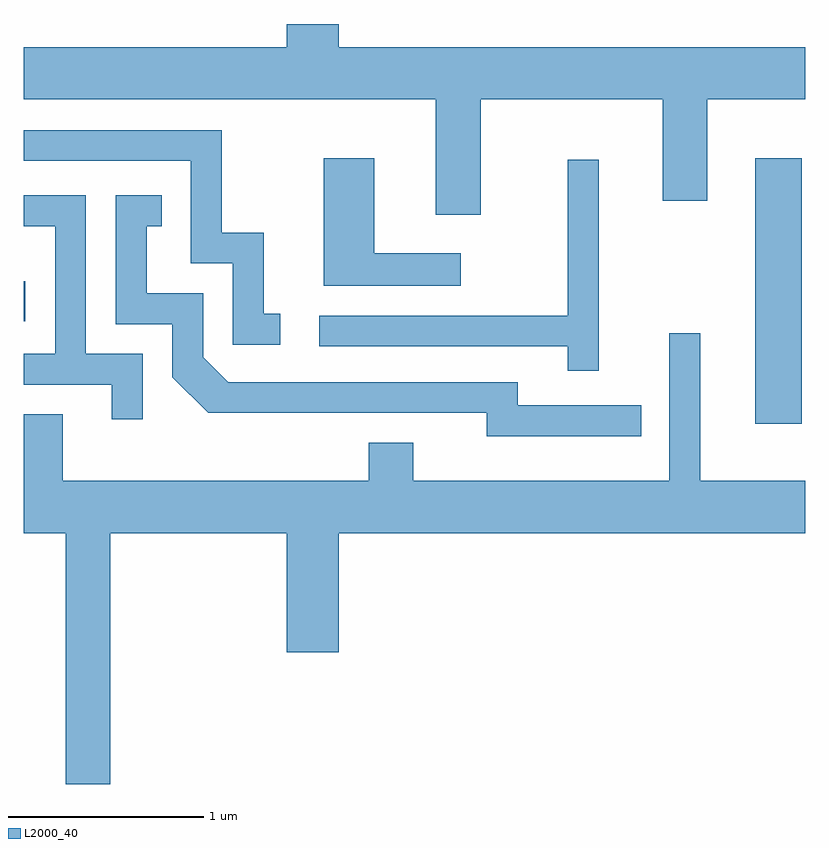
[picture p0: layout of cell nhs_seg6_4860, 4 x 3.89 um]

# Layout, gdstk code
import gdstk
lib = gdstk.Library(unit=1e-6, precision=1e-09)
def R(c, l, rs):  # rectangles x0, y0, x1, y1
    for r in rs: c.add(gdstk.rectangle(r[:2], r[2:], *l))
def P(c, l, *ps):  # polygons
    for p in ps: c.add(gdstk.Polygon(p, *l))
L2000_40 = (2000, 40)

nhs_seg6_4860 = lib.new_cell('nhs_seg6_4860')
R(nhs_seg6_4860, L2000_40, [(337.356,1586.116,337.594,1587.474), (333.611,1586.641,333.619,1586.844)])
P(nhs_seg6_4860, L2000_40, [(335.949,1587.776),(336.881,1587.776),(336.881,1587.256),(337.109,1587.256),(337.109,1587.776),(337.611,1587.776),(337.611,1588.044),(335.224,1588.044),(335.224,1588.162),(334.956,1588.162),(334.956,1588.044),(333.611,1588.044),(333.611,1587.776),(335.721,1587.776),(335.721,1587.186),(335.949,1587.186)],
  [(334.923,1586.679),(334.839,1586.679),(334.839,1587.094),(334.624,1587.094),(334.624,1587.619),(333.611,1587.619),(333.611,1587.461),(334.466,1587.461),(334.466,1586.936),(334.681,1586.936),(334.681,1586.521),(334.923,1586.521)],
  [(335.848,1586.989),(335.404,1586.989),(335.404,1587.474),(335.146,1587.474),(335.146,1586.821),(335.848,1586.821)],
  [(336.554,1587.468),(336.396,1587.468),(336.396,1586.669),(335.123,1586.669),(335.123,1586.511),(336.396,1586.511),(336.396,1586.388),(336.554,1586.388)],
  [(334.219,1586.474),(333.929,1586.474),(333.929,1587.284),(333.611,1587.284),(333.611,1587.126),(333.771,1587.126),(333.771,1586.474),(333.611,1586.474),(333.611,1586.316),(334.061,1586.316),(334.061,1586.138),(334.219,1586.138)],
  [(336.773,1586.209),(336.139,1586.209),(336.139,1586.329),(334.657,1586.329),(334.529,1586.457),(334.529,1586.784),(334.239,1586.784),(334.239,1587.126),(334.318,1587.126),(334.318,1587.284),(334.081,1587.284),(334.081,1586.626),(334.371,1586.626),(334.371,1586.354),(334.554,1586.171),(335.981,1586.171),(335.981,1586.051),(336.773,1586.051)],
  [(333.809,1586.164),(333.611,1586.164),(333.611,1585.556),(333.826,1585.556),(333.826,1584.271),(334.054,1584.271),(334.054,1585.556),(334.956,1585.556),(334.956,1584.946),(335.224,1584.946),(335.224,1585.556),(337.611,1585.556),(337.611,1585.824),(337.074,1585.824),(337.074,1586.578),(336.916,1586.578),(336.916,1585.824),(335.604,1585.824),(335.604,1586.019),(335.376,1586.019),(335.376,1585.824),(333.809,1585.824)])

lib.write_gds('nhs_seg6_4860.gds')
